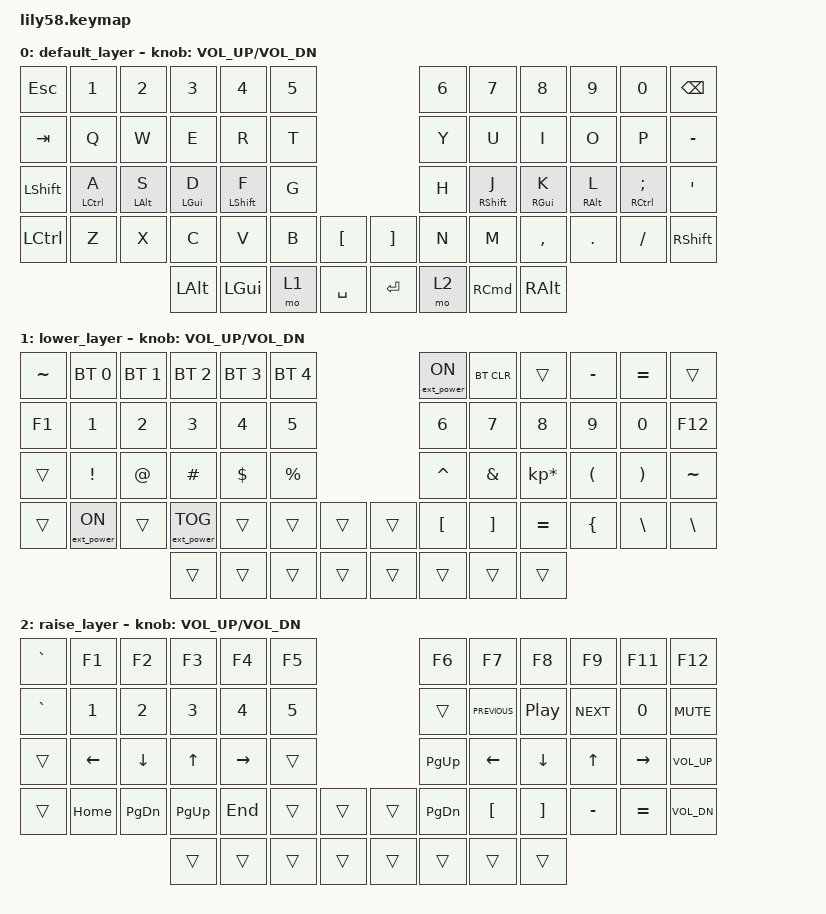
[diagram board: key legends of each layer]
/*
 * Copyright (c) 2020 The ZMK Contributors
 *
 * SPDX-License-Identifier: MIT
 */

#include <behaviors.dtsi>
#include <dt-bindings/zmk/bt.h>
#include <dt-bindings/zmk/ext_power.h>
#include <dt-bindings/zmk/keys.h>

/ {
    behaviors {
        hm: homerow_mods {
            compatible = "zmk,behavior-hold-tap";
            #binding-cells = <2>;
            tapping-term-ms = <150>;
            quick-tap-ms = <0>;
            flavor = "tap-preferred";
            bindings = <&kp>, <&kp>;
        };
    };
    keymap {
        compatible = "zmk,keymap";

        default_layer {
            // ------------------------------------------------------------------------------------------------------------
            // |  ESC  |  1  |  2  |  3   |  4   |  5   |                   |  6   |  7    |  8    |  9   |   0   |   `   |
            // |  TAB  |  Q  |  W  |  E   |  R   |  T   |                   |  Y   |  U    |  I    |  O   |   P   |   -   |
            // | SHIFT |  A  |  S  |  D   |  F   |  G   |                   |  H   |  J    |  K    |  L   |   ;   |   '   |
            // |  CTRL |  Z  |  X  |  C   |  V   |  B   |   "["  |  |  "]"  |  N   |  M    |  ,    |  .   |   /   | SHIFT |
            //                     | ALT  | GUI  | LOWER|  SPACE |  | ENTER | RAISE| BSPC  | GUI   |

            bindings = <
&kp ESC    &kp N1  &kp N2  &kp N3    &kp N4    &kp N5                         &kp N6  &kp N7             &kp N8         &kp N9   &kp N0    &kp BACKSPACE
&kp TAB    &kp Q   &kp W   &kp E     &kp R     &kp T                          &kp Y   &kp U              &kp I          &kp O    &kp P     &kp MINUS
&kp LSHFT  &hm LCTRL A &hm LALT S &hm LGUI D &hm LSHIFT F  &kp G           &kp H   &hm RSHIFT J  &hm RGUI K &hm RALT L &hm RCTRL SEMI  &kp SQT
&kp LCTRL  &kp Z   &kp X   &kp C     &kp V     &kp B   &kp LBKT     &kp RBKT  &kp N   &kp M              &kp COMMA      &kp DOT  &kp FSLH  &kp RSHFT
                           &kp LALT  &kp LGUI  &mo 1   &kp SPACE    &kp RET   &mo 2   &kp RIGHT_COMMAND  &kp RIGHT_ALT
            >;

            sensor-bindings = <&inc_dec_kp C_VOL_UP C_VOL_DN>;
        };

        lower_layer {
            // ------------------------------------------------------------------------------------------------------------
            // | BTCLR | BT1 | BT2 |  BT3 |  BT4 |  BT5 |                   |      |       |       |      |       |       |
            // |  F1   |  F2 |  F3 |  F4  |  F5  |  F6  |                   |  F7  |  F8   |  F9   |  F10 |  F11  |  F12  |
            // |   `   |  !  |  @  |  #   |  $   |  %   |                   |  ^   |  &    |  *    |  (   |   )   |   ~   |
            // |       |     |     |      |      |      |        |  |       |      |  _    |  +    |  {   |   }   |  "|"  |
            //                     |      |      |      |        |  |       |      |       |       |

            bindings = <
&kp TILDE  &bt BT_SEL 0      &bt BT_SEL 1  &bt BT_SEL 2       &bt BT_SEL 3  &bt BT_SEL 4                    &ext_power EP_ON  &bt BT_CLR         &trans           &kp MINUS     &kp EQUAL      &trans
&kp F1     &kp NUMBER_1      &kp NUMBER_2  &kp NUMBER_3       &kp NUMBER_4  &kp NUMBER_5                    &kp NUMBER_6      &kp NUMBER_7       &kp NUMBER_8     &kp NUMBER_9  &kp NUMBER_0   &kp F12
&trans     &kp EXCL          &kp AT        &kp HASH           &kp DOLLAR    &kp PRCNT                       &kp CARET         &kp AMPS           &kp KP_MULTIPLY  &kp LPAR      &kp RPAR       &kp TILDE
&trans     &ext_power EP_ON  &trans        &ext_power EP_TOG  &trans        &trans        &trans    &trans  &kp LEFT_BRACKET  &kp RIGHT_BRACKET  &kp EQUAL        &kp LBRC      &kp BACKSLASH  &kp BACKSLASH
                                           &trans             &trans        &trans        &trans    &trans  &trans            &trans             &trans
            >;

            sensor-bindings = <&inc_dec_kp C_VOL_UP C_VOL_DN>;
        };

        raise_layer {
            // ------------------------------------------------------------------------------------------------------------
            // |       |     |     |      |      |      |                   |      |       |       |      |       |       |
            // |   `   |  1  |  2  |  3   |  4   |  5   |                   |  6   |   7   |   8   |  9   |   0   |       |
            // |   F1  |  F2 |  F3 |  F4  |  F5  |  F6  |                   |      |   <-  |   v   |  ^   |  ->   |       |
            // |   F7  |  F8 |  F9 |  F10 |  F11 |  F12 |        |  |       |  +   |   -   |   =   |  [   |   ]   |   \   |
            //                     |      |      |      |        |  |       |      |       |       |

            bindings = <
&kp GRAVE  &kp F1          &kp F2          &kp F3        &kp F4           &kp F5                    &kp F6         &kp F7            &kp F8             &kp F9        &kp F11          &kp F12
&kp GRAVE  &kp N1          &kp N2          &kp N3        &kp N4           &kp N5                    &trans         &kp C_PREVIOUS    &kp C_PLAY_PAUSE   &kp C_NEXT    &kp N0           &kp K_MUTE
&trans     &kp LEFT_ARROW  &kp DOWN_ARROW  &kp UP_ARROW  &kp RIGHT_ARROW  &trans                    &kp PAGE_UP    &kp LEFT          &kp DOWN_ARROW     &kp UP_ARROW  &kp RIGHT_ARROW  &kp C_VOLUME_UP
&trans     &kp HOME        &kp PAGE_DOWN   &kp PAGE_UP   &kp END          &trans  &trans    &trans  &kp PAGE_DOWN  &kp LEFT_BRACKET  &kp RIGHT_BRACKET  &kp MINUS     &kp EQUAL        &kp C_VOL_DN
                                           &trans        &trans           &trans  &trans    &trans  &trans         &trans            &trans
            >;

            sensor-bindings = <&inc_dec_kp C_VOL_UP C_VOL_DN>;
        };
    };
};
